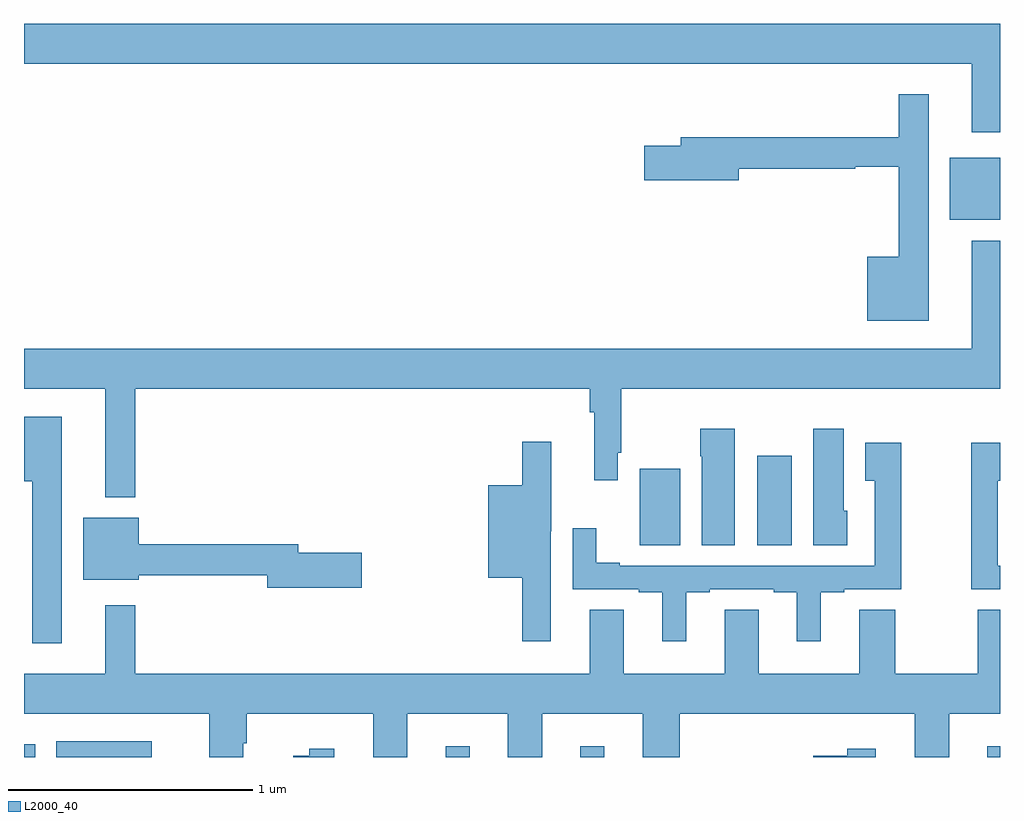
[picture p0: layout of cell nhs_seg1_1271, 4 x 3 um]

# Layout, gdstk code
import gdstk
lib = gdstk.Library(unit=1e-6, precision=1e-09)
def R(c, l, rs):  # rectangles x0, y0, x1, y1
    for r in rs: c.add(gdstk.rectangle(r[:2], r[2:], *l))
def P(c, l, *ps):  # polygons
    for p in ps: c.add(gdstk.Polygon(p, *l))
L2000_40 = (2000, 40)

nhs_seg1_1271 = lib.new_cell('nhs_seg1_1271')
R(nhs_seg1_1271, L2000_40, [(179,574.199,179.047,574.252), (179.132,574.199,179.524,574.264), (180.728,574.199,180.826,574.243), (181.28,574.199,181.378,574.243), (182.948,574.199,183,574.243), (181.523,575.068,181.69,575.38), (182.006,575.068,182.146,575.434), (182.795,576.401,183,576.655)])
P(nhs_seg1_1271, L2000_40, [(183,577.204),(179,577.204),(179,577.04),(182.885,577.04),(182.885,576.759),(183,576.759)],
  [(182.707,576.916),(182.586,576.916),(182.586,576.739),(181.691,576.739),(181.691,576.705),(181.542,576.705),(181.542,576.563),(181.93,576.563),(181.93,576.61),(182.407,576.61),(182.407,576.618),(182.586,576.618),(182.586,576.25),(182.456,576.25),(182.456,575.987),(182.707,575.987)],
  [(179.455,575.708),(181.318,575.708),(181.318,575.612),(181.337,575.612),(181.337,575.334),(181.434,575.334),(181.434,575.446),(181.447,575.446),(181.447,575.708),(183,575.708),(183,576.316),(182.885,576.316),(182.885,575.872),(179,575.872),(179,575.708),(179.333,575.708),(179.333,575.264),(179.455,575.264)],
  [(179.155,575.593),(179,575.593),(179,575.33),(179.034,575.33),(179.034,574.665),(179.155,574.665)],
  [(181.912,575.545),(181.771,575.545),(181.771,575.432),(181.778,575.432),(181.778,575.068),(181.912,575.068)],
  [(182.374,575.208),(182.359,575.208),(182.359,575.545),(182.234,575.545),(182.234,575.068),(182.374,575.068)],
  [(181.158,575.124),(181.16,575.124),(181.16,575.491),(181.042,575.491),(181.042,575.314),(180.902,575.314),(180.902,574.934),(181.042,574.934),(181.042,574.674),(181.158,574.674)],
  [(183,574.983),(182.991,574.983),(182.991,575.332),(183,575.332),(183,575.488),(182.883,575.488),(182.883,574.887),(183,574.887)],
  [(181.714,574.875),(181.81,574.875),(181.81,574.887),(182.072,574.887),(182.072,574.875),(182.168,574.875),(182.168,574.674),(182.266,574.674),(182.266,574.875),(182.362,574.875),(182.362,574.887),(182.596,574.887),(182.596,575.488),(182.447,575.488),(182.447,575.332),(182.487,575.332),(182.487,574.983),(181.441,574.983),(181.441,574.996),(181.345,574.996),(181.345,575.137),(181.248,575.137),(181.248,574.887),(181.52,574.887),(181.52,574.875),(181.616,574.875),(181.616,574.674),(181.714,574.674)],
  [(180.385,575.036),(180.124,575.036),(180.124,575.072),(179.47,575.072),(179.47,575.179),(179.243,575.179),(179.243,574.925),(179.47,574.925),(179.47,574.944),(179.996,574.944),(179.996,574.894),(180.385,574.894)],
  [(179.899,574.256),(179.912,574.256),(179.912,574.376),(180.431,574.376),(180.431,574.199),(180.571,574.199),(180.571,574.376),(180.983,574.376),(180.983,574.199),(181.123,574.199),(181.123,574.376),(181.535,574.376),(181.535,574.199),(181.688,574.199),(181.688,574.376),(182.651,574.376),(182.651,574.199),(182.791,574.199),(182.791,574.376),(183,574.376),(183,574.802),(182.908,574.802),(182.908,574.54),(182.571,574.54),(182.571,574.802),(182.423,574.802),(182.423,574.54),(182.011,574.54),(182.011,574.802),(181.871,574.802),(181.871,574.54),(181.459,574.54),(181.459,574.802),(181.319,574.802),(181.319,574.54),(179.455,574.54),(179.455,574.822),(179.333,574.822),(179.333,574.54),(179,574.54),(179,574.376),(179.759,574.376),(179.759,574.199),(179.899,574.199)],
  [(180.271,574.234),(180.169,574.234),(180.169,574.204),(180.104,574.204),(180.104,574.199),(180.271,574.199)],
  [(182.491,574.234),(182.374,574.234),(182.374,574.204),(182.234,574.204),(182.234,574.199),(182.491,574.199)])

lib.write_gds('nhs_seg1_1271.gds')
